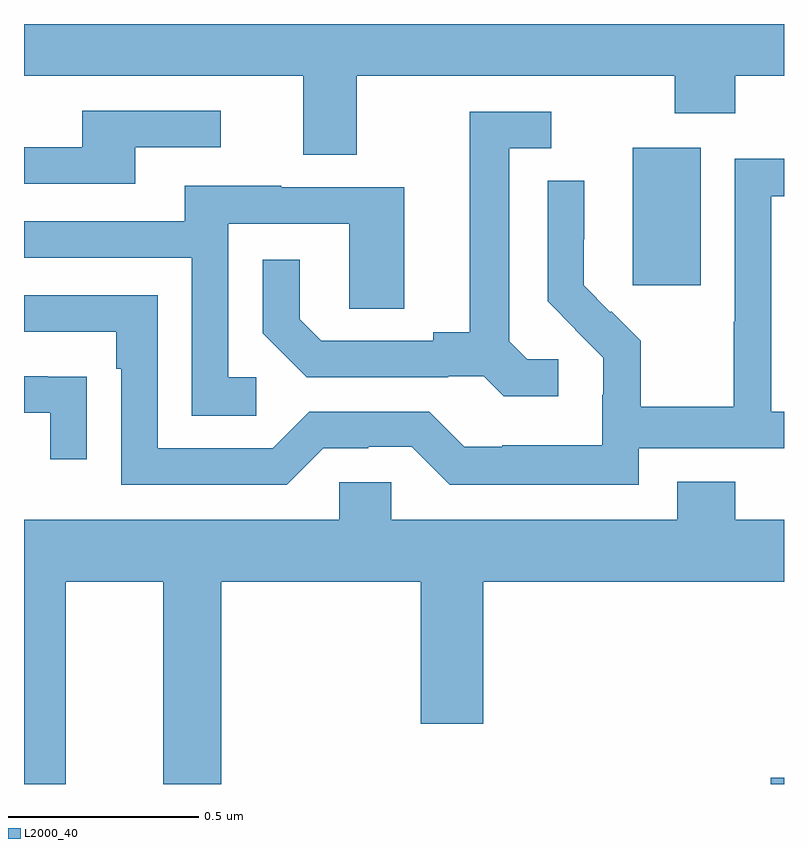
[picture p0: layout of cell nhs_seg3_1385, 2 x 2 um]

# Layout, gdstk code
import gdstk
lib = gdstk.Library(unit=1e-6, precision=1e-09)
def R(c, l, rs):  # rectangles x0, y0, x1, y1
    for r in rs: c.add(gdstk.rectangle(r[:2], r[2:], *l))
def P(c, l, *ps):  # polygons
    for p in ps: c.add(gdstk.Polygon(p, *l))
L2000_40 = (2000, 40)

nhs_seg3_1385 = lib.new_cell('nhs_seg3_1385')
R(nhs_seg3_1385, L2000_40, [(129.965,684.4,130,684.416), (129.602,685.713,129.781,686.074)])
P(nhs_seg3_1385, L2000_40, [(128.875,686.264),(129.712,686.264),(129.712,686.165),(129.872,686.165),(129.872,686.264),(130,686.264),(130,686.4),(128,686.4),(128,686.264),(128.735,686.264),(128.735,686.056),(128.875,686.056)],
  [(128.293,686.076),(128.518,686.076),(128.518,686.172),(128.153,686.172),(128.153,686.076),(128,686.076),(128,685.98),(128.293,685.98)],
  [(129.406,685.518),(129.324,685.518),(129.277,685.565),(129.277,686.073),(129.388,686.073),(129.388,686.169),(129.173,686.169),(129.173,685.589),(129.077,685.589),(129.077,685.566),(128.782,685.566),(128.725,685.623),(128.725,685.78),(128.628,685.78),(128.628,685.586),(128.744,685.47),(129.116,685.47),(129.116,685.473),(129.21,685.473),(129.262,685.421),(129.406,685.421)],
  [(129.618,685.284),(130,685.284),(130,685.38),(129.966,685.38),(129.966,685.947),(130,685.947),(130,686.046),(129.87,686.046),(129.87,685.616),(129.868,685.616),(129.868,685.393),(129.623,685.393),(129.623,685.567),(129.546,685.644),(129.543,685.641),(129.473,685.712),(129.473,685.834),(129.474,685.834),(129.474,685.988),(129.378,685.988),(129.378,685.67),(129.451,685.597),(129.45,685.596),(129.524,685.522),(129.524,685.425),(129.522,685.425),(129.522,685.291),(129.259,685.291),(129.259,685.287),(129.159,685.287),(129.066,685.38),(128.751,685.38),(128.655,685.284),(128.352,685.284),(128.352,685.686),(128,685.686),(128,685.59),(128.243,685.59),(128.243,685.493),(128.256,685.493),(128.256,685.188),(128.691,685.188),(128.787,685.284),(128.906,685.284),(128.906,685.287),(129.021,685.287),(129.121,685.187),(129.618,685.187)],
  [(128.611,685.47),(128.538,685.47),(128.538,685.875),(128.856,685.875),(128.856,685.651),(129.001,685.651),(129.001,685.971),(128.677,685.971),(128.677,685.975),(128.423,685.975),(128.423,685.881),(128,685.881),(128,685.785),(128.442,685.785),(128.442,685.369),(128.611,685.369)],
  [(128.165,685.472),(128.063,685.472),(128.063,685.473),(128,685.473),(128,685.377),(128.069,685.377),(128.069,685.254),(128.165,685.254)],
  [(128.11,684.932),(128.366,684.932),(128.366,684.4),(128.519,684.4),(128.519,684.932),(129.044,684.932),(129.044,684.558),(129.208,684.558),(129.208,684.932),(130,684.932),(130,685.096),(129.872,685.096),(129.872,685.195),(129.719,685.195),(129.719,685.096),(128.967,685.096),(128.967,685.194),(128.829,685.194),(128.829,685.096),(128,685.096),(128,684.4),(128.11,684.4)])

lib.write_gds('nhs_seg3_1385.gds')
